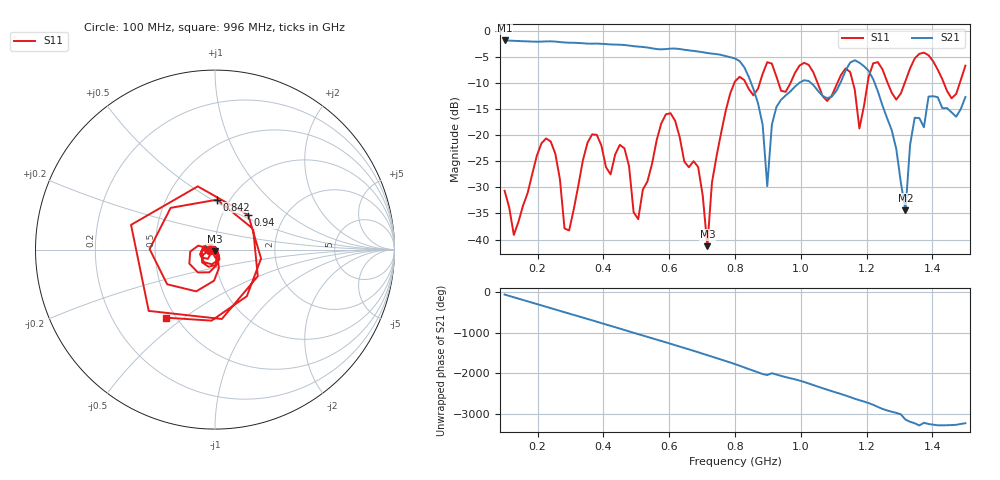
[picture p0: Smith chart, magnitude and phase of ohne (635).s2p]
! NanoVNA-App
! Date: 2025-09-25 14:25:44
! Start: 100MHz Stop: 1,5GHz Points: 101
! S-Parameter data: F S11 S21 S12 S22
# Hz S RI R 50
!  Frequency  S11_Real  S11_Imag  S21_Real  S21_Imag  S12_Real  S12_Imag  S22_Real  S22_Imag
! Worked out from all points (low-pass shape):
!   101 points, 100 MHz to 1.5 GHz, reference 50 ohm
!   highest |S21| = -1.79 dB at 100 MHz (marker M1); lowest = -34.4 dB at 1.318 GHz (marker M2)
!   |S21| within 3 dB of the highest: start of sweep to 771.7 MHz
!   lowest |S11| = -41.3 dB at 716 MHz (marker M3), VSWR 1.02, Z = 49.8 - j0.848 ohm
!   |S11| at or under -10 dB: start of sweep to 797.8 MHz; 833 MHz to 875.1 MHz (42.1 MHz wide, 4.93 % of centre); 1.051 GHz to 1.111 GHz (59.56 MHz wide, 5.51 % of centre) (the widest 3 of 7)
!   S12 and S22 are empty: the file has one direction only
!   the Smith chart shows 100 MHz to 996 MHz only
!   S11 on the Smith chart (normalised r, x): 100 MHz: 0.94, -0.01; 842 MHz: 0.88, +0.53; 940 MHz: 1.32, +0.55; 996 MHz: 0.44, -0.43
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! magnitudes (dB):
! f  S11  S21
! 100 MHz  -30.6  -1.8
! 128 MHz  -39.1  -1.9
! 226 MHz  -20.6  -2.0
! 296 MHz  -38.3  -2.2
! 338 MHz  -24.8  -2.3
! 464 MHz  -22.5  -2.7
! 506 MHz  -36.1  -3.0
! 576 MHz  -17.7  -3.5
! 688 MHz  -26.1  -3.9
! 716 MHz  -41.3  -4.2
! 800 MHz  -9.7  -5.2
! 842 MHz  -11.1  -8.8
! 898 MHz  -6.0  -29.8
! 940 MHz  -11.5  -13.2
! 996 MHz  -6.6  -9.9
! 1.038 GHz  -7.9  -10.3
! 1.178 GHz  -18.7  -6.1
! 1.22 GHz  -6.2  -9.2
! 1.276 GHz  -11.8  -19.0
! 1.318 GHz  -9.6  -34.4
! 1.346 GHz  -5.2  -16.6
! 1.5 GHz  -6.6  -12.6
